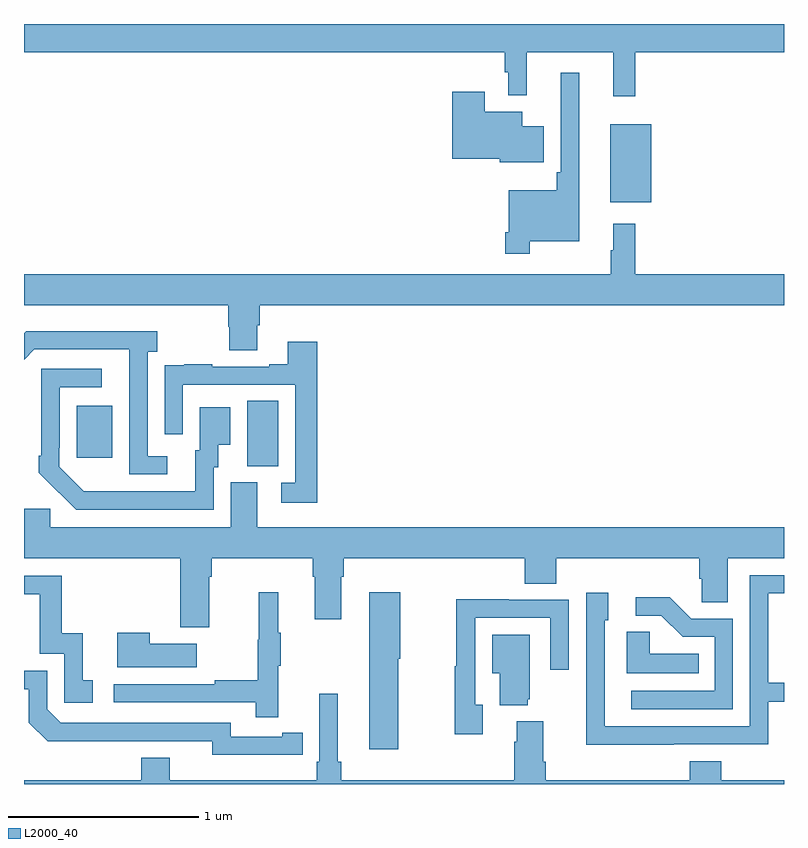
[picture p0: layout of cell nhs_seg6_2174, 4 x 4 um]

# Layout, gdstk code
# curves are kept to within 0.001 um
import gdstk
lib = gdstk.Library(unit=1e-6, precision=1e-09)
def R(c, l, rs):  # rectangles x0, y0, x1, y1
    for r in rs: c.add(gdstk.rectangle(r[:2], r[2:], *l))
def P(c, l, *ps):  # polygons
    for p in ps: c.add(gdstk.Polygon(p, *l))
L2000_40 = (2000, 40)

nhs_seg6_2174 = lib.new_cell('nhs_seg6_2174')
R(nhs_seg6_2174, L2000_40, [(242.174,929.173,242.338,929.516), (241.277,929.217,241.465,929.491), (244.085,930.563,244.3,930.973)])
P(nhs_seg6_2174, L2000_40, [(244.217,931.352),(245,931.352),(245,931.5),(241,931.5),(241,931.352),(243.529,931.352),(243.529,931.245),(243.549,931.245),(243.549,931.124),(243.647,931.124),(243.647,931.352),(244.1,931.352),(244.1,931.119),(244.217,931.119)],
  [(243.661,930.356),(243.922,930.356),(243.922,931.243),(243.825,931.243),(243.825,930.721),(243.805,930.721),(243.805,930.625),(243.552,930.625),(243.552,930.403),(243.532,930.403),(243.532,930.291),(243.661,930.291)],
  [(243.736,930.961),(243.622,930.961),(243.622,931.039),(243.424,931.039),(243.424,931.144),(243.254,931.144),(243.254,930.791),(243.504,930.791),(243.504,930.773),(243.736,930.773)],
  [(241,930.02),(242.075,930.02),(242.075,929.907),(242.08,929.907),(242.08,929.782),(242.227,929.782),(242.227,929.914),(242.24,929.914),(242.24,930.02),(245,930.02),(245,930.184),(244.217,930.184),(244.217,930.448),(244.1,930.448),(244.1,930.308),(244.089,930.308),(244.089,930.184),(241,930.184)],
  [(241.753,929.226),(241.65,929.226),(241.65,929.774),(241.702,929.774),(241.702,929.884),(241.012,929.884),(241,929.872),(241,929.734),(241.053,929.787),(241.553,929.787),(241.554,929.13),(241.753,929.13)],
  [(242.543,929.827),(242.387,929.827),(242.387,929.71),(242.291,929.71),(242.291,929.697),(241.991,929.697),(241.991,929.71),(241.843,929.71),(241.843,929.703),(241.741,929.703),(241.741,929.594),(241.74,929.594),(241.74,929.34),(241.836,929.34),(241.836,929.601),(242.427,929.601),(242.427,929.085),(242.355,929.085),(242.355,928.98),(242.543,928.98)],
  [(241.998,929.166),(242.023,929.166),(242.023,929.285),(242.086,929.285),(242.086,929.482),(241.925,929.482),(241.925,929.256),(241.901,929.256),(241.901,929.04),(241.314,929.041),(241.185,929.169),(241.185,929.269),(241.188,929.269),(241.188,929.589),(241.408,929.589),(241.408,929.685),(241.092,929.685),(241.092,929.227),(241.077,929.227),(241.077,929.139),(241.274,928.944),(241.998,928.944)],
  [(242.519,928.592),(242.531,928.592),(242.531,928.368),(242.671,928.368),(242.671,928.592),(242.684,928.592),(242.684,928.688),(243.635,928.688),(243.635,928.555),(243.8,928.555),(243.8,928.688),(244.553,928.688),(244.553,928.579),(244.566,928.579),(244.566,928.456),(244.705,928.456),(244.705,928.688),(245,928.688),(245,928.852),(242.227,928.852),(242.227,929.088),(242.087,929.088),(242.087,928.852),(241.137,928.852),(241.137,928.95),(241,928.95),(241,928.688),(241.823,928.688),(241.823,928.326),(241.975,928.326),(241.975,928.592),(241.988,928.592),(241.988,928.688),(242.519,928.688)],
  [(244.421,927.708),(244.917,927.708),(244.917,927.933),(245,927.933),(245,928.034),(244.917,928.034),(244.917,928.503),(245,928.503),(245,928.599),(244.821,928.599),(244.821,927.804),(244.056,927.804),(244.056,928.362),(244.075,928.362),(244.075,928.507),(243.96,928.507),(243.96,928.013),(243.958,928.013),(243.958,927.707),(244.421,927.707)],
  [(241.363,928.047),(241.31,928.047),(241.31,928.294),(241.199,928.294),(241.199,928.596),(241,928.596),(241,928.5),(241.083,928.5),(241.083,928.185),(241.212,928.185),(241.212,927.927),(241.363,927.927)],
  [(242.339,928.123),(242.35,928.123),(242.35,928.297),(242.339,928.297),(242.339,928.51),(242.236,928.51),(242.236,928.26),(242.229,928.26),(242.229,928.046),(242.005,928.046),(242.005,928.026),(241.473,928.026),(241.473,927.93),(242.221,927.93),(242.221,927.852),(242.339,927.852)],
  [(242.97,928.158),(242.98,928.158),(242.98,928.51),(242.816,928.51),(242.816,927.684),(242.97,927.684)],
  [(244.731,928.371),(244.512,928.371),(244.399,928.484),(244.221,928.484),(244.221,928.386),(244.355,928.386),(244.466,928.275),(244.635,928.275),(244.635,927.99),(244.197,927.99),(244.197,927.894),(244.731,927.894)],
  [(243.415,927.918),(243.375,927.918),(243.375,928.374),(243.771,928.374),(243.771,928.101),(243.867,928.101),(243.867,928.47),(243.551,928.47),(243.551,928.472),(243.274,928.472),(243.274,928.121),(243.267,928.121),(243.267,927.762),(243.415,927.762)],
  [(244.55,928.186),(244.293,928.186),(244.293,928.301),(244.172,928.301),(244.172,928.082),(244.55,928.082)],
  [(241.909,928.237),(241.661,928.237),(241.661,928.297),(241.49,928.297),(241.49,928.115),(241.909,928.115)],
  [(243.65,927.945),(243.661,927.945),(243.661,928.285),(243.464,928.285),(243.464,928.082),(243.503,928.082),(243.503,927.914),(243.65,927.914)],
  [(242.36,927.654),(242.468,927.654),(242.468,927.77),(242.36,927.77),(242.36,927.75),(242.088,927.75),(242.088,927.822),(241.194,927.822),(241.122,927.894),(241.122,928.095),(241,928.095),(241,927.999),(241.026,927.999),(241.026,927.822),(241.124,927.725),(241.992,927.726),(241.992,927.653)],
  [(245,927.52),(244.67,927.52),(244.67,927.619),(244.505,927.619),(244.505,927.52),(243.746,927.52),(243.746,927.616),(243.733,927.616),(243.733,927.829),(243.593,927.829),(243.593,927.722),(243.581,927.722),(243.581,927.52),(242.669,927.52),(242.669,927.616),(242.65,927.616),(242.65,927.976),(242.553,927.976),(242.553,927.616),(242.54,927.616),(242.54,927.52),(241.768,927.52),(241.768,927.637),(241.616,927.637),(241.616,927.52),(241,927.52),(241,927.5),(245,927.5)])

lib.write_gds('nhs_seg6_2174.gds')
